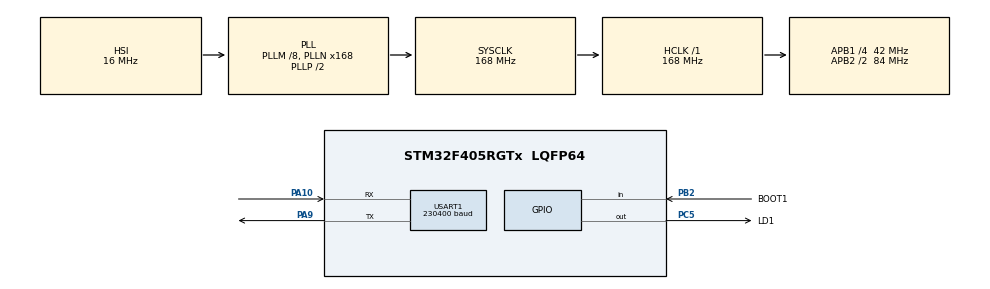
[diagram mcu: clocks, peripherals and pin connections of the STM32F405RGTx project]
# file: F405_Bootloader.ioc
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Dma.Request0=USART1_RX
Dma.Request1=USART1_TX
Dma.USART1_RX.0.Direction=DMA_PERIPH_TO_MEMORY
Dma.USART1_RX.0.FIFOMode=DMA_FIFOMODE_ENABLE
Dma.USART1_RX.0.FIFOThreshold=DMA_FIFO_THRESHOLD_FULL
Dma.USART1_RX.0.Instance=DMA2_Stream2
Dma.USART1_RX.0.MemBurst=DMA_MBURST_SINGLE
Dma.USART1_RX.0.MemDataAlignment=DMA_MDATAALIGN_BYTE
Dma.USART1_RX.0.MemInc=DMA_MINC_ENABLE
Dma.USART1_RX.0.Mode=DMA_NORMAL
Dma.USART1_RX.0.PeriphBurst=DMA_PBURST_SINGLE
Dma.USART1_RX.0.PeriphDataAlignment=DMA_PDATAALIGN_BYTE
Dma.USART1_RX.0.PeriphInc=DMA_PINC_DISABLE
Dma.USART1_RX.0.Priority=DMA_PRIORITY_LOW
Dma.USART1_TX.1.Direction=DMA_MEMORY_TO_PERIPH
Dma.USART1_TX.1.FIFOMode=DMA_FIFOMODE_ENABLE
Dma.USART1_TX.1.FIFOThreshold=DMA_FIFO_THRESHOLD_FULL
Dma.USART1_TX.1.Instance=DMA2_Stream7
Dma.USART1_TX.1.MemBurst=DMA_MBURST_SINGLE
Dma.USART1_TX.1.MemDataAlignment=DMA_MDATAALIGN_BYTE
Dma.USART1_TX.1.MemInc=DMA_MINC_ENABLE
Dma.USART1_TX.1.Mode=DMA_NORMAL
Dma.USART1_TX.1.PeriphBurst=DMA_PBURST_SINGLE
Dma.USART1_TX.1.PeriphDataAlignment=DMA_PDATAALIGN_BYTE
Dma.USART1_TX.1.PeriphInc=DMA_PINC_DISABLE
Dma.USART1_TX.1.Priority=DMA_PRIORITY_LOW
Mcu.Family=STM32F4
Mcu.Name=STM32F405RGTx
Mcu.Package=LQFP64
NVIC.DMA2_Stream2_IRQn=true\:0\:0\:false\:false\:true\:false\:true\:true
NVIC.DMA2_Stream7_IRQn=true\:0\:0\:false\:false\:true\:false\:true\:true
NVIC.PriorityGroup=NVIC_PRIORITYGROUP_4
NVIC.TIM6_DAC_IRQn=true\:0\:0\:false\:false\:true\:true\:true\:true
NVIC.USART1_IRQn=true\:0\:0\:false\:false\:true\:true\:true\:true
PA10.Mode=Asynchronous
PA10.Signal=USART1_RX
PA13.Mode=Trace_Asynchronous_SW
PA13.Signal=SYS_JTMS-SWDIO
PA14.Mode=Trace_Asynchronous_SW
PA14.Signal=SYS_JTCK-SWCLK
PA9.Mode=Asynchronous
PA9.Signal=USART1_TX
PB2.GPIO_Label=BOOT1
PB2.Signal=GPIO_Input
PB3.Mode=Trace_Asynchronous_SW
PB3.Signal=SYS_JTDO-SWO
PC5.GPIO_Label=LD1
PC5.Signal=GPIO_Output
PH0-OSC_IN.Mode=HSE-External-Oscillator
PH0-OSC_IN.Signal=RCC_OSC_IN
PH1-OSC_OUT.Mode=HSE-External-Oscillator
PH1-OSC_OUT.Signal=RCC_OSC_OUT
ProjectManager.HeapSize=0x200
ProjectManager.StackSize=0x400
ProjectManager.TargetToolchain=STM32CubeIDE
RCC.48MHZClocksFreq_Value=84000000
RCC.AHBFreq_Value=168000000
RCC.APB1CLKDivider=RCC_HCLK_DIV4
RCC.APB1Freq_Value=42000000
RCC.APB1TimFreq_Value=84000000
RCC.APB2CLKDivider=RCC_HCLK_DIV2
RCC.APB2Freq_Value=84000000
RCC.APB2TimFreq_Value=168000000
RCC.CortexFreq_Value=168000000
RCC.HCLKFreq_Value=168000000
RCC.HSE_VALUE=25000000
RCC.HSI_VALUE=16000000
RCC.LSE_VALUE=32768
RCC.PLLM=8
RCC.PLLN=168
RCC.SYSCLKFreq_VALUE=168000000
RCC.SYSCLKSource=RCC_SYSCLKSOURCE_PLLCLK
RCC.VCOOutputFreq_Value=336000000
TIM6.Period=999
TIM6.Prescaler=83
USART1.BaudRate=230400
USART1.VirtualMode=VM_ASYNC
VP_CRC_VS_CRC.Mode=CRC_Activate
VP_TIM6_VS_ClockSourceINT.Mode=Enable_Timer
board=custom

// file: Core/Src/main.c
/* USER CODE BEGIN Header */
/**
  ******************************************************************************
  * @file           : main.c
  * @brief          : Main program body
  ******************************************************************************
  * @attention
  *
  * Copyright (c) 2022 STMicroelectronics.
  * All rights reserved.
  *
  * This software is licensed under terms that can be found in the LICENSE file
  * in the root directory of this software component.
  * If no LICENSE file comes with this software, it is provided AS-IS.
  *
  ******************************************************************************
  */
/* USER CODE END Header */
#include "main.h"

/* USER CODE BEGIN Includes */
#include "etx_ota_update.h"
#include "stdio.h"
/* USER CODE END Includes */

/* USER CODE BEGIN PD */
#define MAJOR 0   // BL Major version Number
#define MINOR 1   // BL Minor version Number
/* USER CODE END PD */

 CRC_HandleTypeDef hcrc;

TIM_HandleTypeDef htim6;

UART_HandleTypeDef huart1;
DMA_HandleTypeDef hdma_usart1_rx;
DMA_HandleTypeDef hdma_usart1_tx;

/* USER CODE BEGIN PV */
uint8_t rxBuffer[OTA_PACKET_MAX_SIZE] = { 0 };
uint8_t rxFlag = 0;
uint16_t rxSize = 0;
const uint8_t BL_Version[2] = { MAJOR, MINOR };
/* USER CODE END PV */

void SystemClock_Config(void);
static void MX_GPIO_Init(void);
static void MX_DMA_Init(void);
static void MX_TIM6_Init(void);
static void MX_USART1_UART_Init(void);
static void MX_CRC_Init(void);
/* USER CODE BEGIN PFP */
static void goto_application(void);
/* USER CODE END PFP */

int main(void)
{

  /* MCU Configuration--------------------------------------------------------*/

  /* Reset of all peripherals, Initializes the Flash interface and the Systick. */
  HAL_Init();

  /* Configure the system clock */
  SystemClock_Config();

  /* Initialize all configured peripherals */
  MX_GPIO_Init();
  MX_DMA_Init();
  MX_TIM6_Init();
  MX_USART1_UART_Init();
  MX_CRC_Init();
  /* USER CODE BEGIN 2 */
	HAL_TIM_Base_Start_IT(&htim6);
	HAL_UARTEx_ReceiveToIdle_DMA(&huart1, rxBuffer, OTA_PACKET_MAX_SIZE);
	__HAL_DMA_DISABLE_IT(&hdma_usart1_rx, DMA_IT_HT);

//	printf("Starting Bootloader(%d.%d)\r\n", BL_Version[0], BL_Version[1]);

//	printf("Reading the reboot reason...\r\n");

	ETX_GNRL_CFG_ *cfg = (ETX_GNRL_CFG_*) (CONFIG_FLASH_ADDR);
	bool goto_ota_mode = false;

	switch (cfg->reboot_cause) {

	case NORMAL_BOOT: {
		/*
		 * It is a normal boot. So, do nothing here.
		 */
//		printf("Normal Boot\r\n");
		break;
	}
	case OTA_REQUEST:
	case FIRST_TIME_BOOT: {
		/*
		 * Application has requested for the OTA update or this is the first
		 * time boot. So, don't wait for the user to press the button.
		 * Directly go to OTA mode.
		 */
//		printf("First time boot / OTA Request...\r\n");
//		printf("Going to OTA mode...\r\n");
		goto_ota_mode = true;
		break;
	}
	case LOAD_PREV_APP: {
		//TODO: Implement
		break;
	}
	default:
		/* should not get here */
		break;
	}

	GPIO_PinState OTA_Pin_state;
	uint32_t end_tick = HAL_GetTick() + 1000;   // from now to 3 Seconds

//	printf("Check BOOT1 pin to trigger OTA update...\r\n");
	do {
		OTA_Pin_state = HAL_GPIO_ReadPin( BOOT1_GPIO_Port, BOOT1_Pin);
		uint32_t current_tick = HAL_GetTick();

		/* Check the button is pressed or not for 3seconds */
		if ((OTA_Pin_state != GPIO_PIN_RESET) || (current_tick > end_tick)) {
			/* Either timeout or Button is pressed */
			break;
		}
	} while (!goto_ota_mode);

	if ((OTA_Pin_state == GPIO_PIN_SET) || (goto_ota_mode)) {
		HAL_GPIO_WritePin(LD1_GPIO_Port, LD1_Pin, GPIO_PIN_SET);

//		printf("Starting Firmware Download!!!\r\n");
		/* OTA Request. Receive the data from the UART4 and flash */
		if (etx_ota_download_and_flash() != ETX_OTA_EX_OK) {
			/* Error. Don't process. */
//			printf("OTA Update : ERROR!!! HALT!!!\r\n");
			while (1)
				;
		} else {
			/* Reset to load the new application */
//			printf("Firmware update is done!!! Rebooting...\r\n");
			HAL_Delay (50);
			HAL_NVIC_SystemReset();
		}
	}
//	puts ("Copy firmware to the Application area\r\n");
	load_new_app();
//	puts ("Jump to the Application\r\n");
	goto_application();
  /* USER CODE END 2 */

  /* Infinite loop */
  while (1)
  {

  }
}

void SystemClock_Config(void)
{
  RCC_OscInitTypeDef RCC_OscInitStruct = {0};
  RCC_ClkInitTypeDef RCC_ClkInitStruct = {0};

  /** Configure the main internal regulator output voltage
  */
  __HAL_RCC_PWR_CLK_ENABLE();
  __HAL_PWR_VOLTAGESCALING_CONFIG(PWR_REGULATOR_VOLTAGE_SCALE1);

  /** Initializes the RCC Oscillators according to the specified parameters
  * in the RCC_OscInitTypeDef structure.
  */
  RCC_OscInitStruct.OscillatorType = RCC_OSCILLATORTYPE_HSI;
  RCC_OscInitStruct.HSIState = RCC_HSI_ON;
  RCC_OscInitStruct.HSICalibrationValue = RCC_HSICALIBRATION_DEFAULT;
  RCC_OscInitStruct.PLL.PLLState = RCC_PLL_ON;
  RCC_OscInitStruct.PLL.PLLSource = RCC_PLLSOURCE_HSI;
  RCC_OscInitStruct.PLL.PLLM = 8;
  RCC_OscInitStruct.PLL.PLLN = 168;
  RCC_OscInitStruct.PLL.PLLP = RCC_PLLP_DIV2;
  RCC_OscInitStruct.PLL.PLLQ = 4;
  if (HAL_RCC_OscConfig(&RCC_OscInitStruct) != HAL_OK)
  {
    Error_Handler();
  }

  /** Initializes the CPU, AHB and APB buses clocks
  */
  RCC_ClkInitStruct.ClockType = RCC_CLOCKTYPE_HCLK|RCC_CLOCKTYPE_SYSCLK
                              |RCC_CLOCKTYPE_PCLK1|RCC_CLOCKTYPE_PCLK2;
  RCC_ClkInitStruct.SYSCLKSource = RCC_SYSCLKSOURCE_PLLCLK;
  RCC_ClkInitStruct.AHBCLKDivider = RCC_SYSCLK_DIV1;
  RCC_ClkInitStruct.APB1CLKDivider = RCC_HCLK_DIV4;
  RCC_ClkInitStruct.APB2CLKDivider = RCC_HCLK_DIV2;

  if (HAL_RCC_ClockConfig(&RCC_ClkInitStruct, FLASH_LATENCY_5) != HAL_OK)
  {
    Error_Handler();
  }
}

static void MX_CRC_Init(void)
{

  hcrc.Instance = CRC;
  if (HAL_CRC_Init(&hcrc) != HAL_OK)
  {
    Error_Handler();
  }

}

static void MX_TIM6_Init(void)
{

  TIM_MasterConfigTypeDef sMasterConfig = {0};

  htim6.Instance = TIM6;
  htim6.Init.Prescaler = 83;
  htim6.Init.CounterMode = TIM_COUNTERMODE_UP;
  htim6.Init.Period = 999;
  htim6.Init.AutoReloadPreload = TIM_AUTORELOAD_PRELOAD_DISABLE;
  if (HAL_TIM_Base_Init(&htim6) != HAL_OK)
  {
    Error_Handler();
  }
  sMasterConfig.MasterOutputTrigger = TIM_TRGO_RESET;
  sMasterConfig.MasterSlaveMode = TIM_MASTERSLAVEMODE_DISABLE;
  if (HAL_TIMEx_MasterConfigSynchronization(&htim6, &sMasterConfig) != HAL_OK)
  {
    Error_Handler();
  }

}

static void MX_USART1_UART_Init(void)
{

  huart1.Instance = USART1;
  huart1.Init.BaudRate = 230400;
  huart1.Init.WordLength = UART_WORDLENGTH_8B;
  huart1.Init.StopBits = UART_STOPBITS_1;
  huart1.Init.Parity = UART_PARITY_NONE;
  huart1.Init.Mode = UART_MODE_TX_RX;
  huart1.Init.HwFlowCtl = UART_HWCONTROL_NONE;
  huart1.Init.OverSampling = UART_OVERSAMPLING_16;
  if (HAL_UART_Init(&huart1) != HAL_OK)
  {
    Error_Handler();
  }

}

static void MX_DMA_Init(void)
{

  /* DMA controller clock enable */
  __HAL_RCC_DMA2_CLK_ENABLE();

  /* DMA interrupt init */
  /* DMA2_Stream2_IRQn interrupt configuration */
  HAL_NVIC_SetPriority(DMA2_Stream2_IRQn, 0, 0);
  HAL_NVIC_EnableIRQ(DMA2_Stream2_IRQn);
  /* DMA2_Stream7_IRQn interrupt configuration */
  HAL_NVIC_SetPriority(DMA2_Stream7_IRQn, 0, 0);
  HAL_NVIC_EnableIRQ(DMA2_Stream7_IRQn);

}

static void MX_GPIO_Init(void)
{
  GPIO_InitTypeDef GPIO_InitStruct = {0};

  /* GPIO Ports Clock Enable */
  __HAL_RCC_GPIOH_CLK_ENABLE();
  __HAL_RCC_GPIOC_CLK_ENABLE();
  __HAL_RCC_GPIOB_CLK_ENABLE();
  __HAL_RCC_GPIOA_CLK_ENABLE();

  /*Configure GPIO pin Output Level */
  HAL_GPIO_WritePin(LD1_GPIO_Port, LD1_Pin, GPIO_PIN_RESET);

  /*Configure GPIO pin : LD1_Pin */
  GPIO_InitStruct.Pin = LD1_Pin;
  GPIO_InitStruct.Mode = GPIO_MODE_OUTPUT_PP;
  GPIO_InitStruct.Pull = GPIO_NOPULL;
  GPIO_InitStruct.Speed = GPIO_SPEED_FREQ_LOW;
  HAL_GPIO_Init(LD1_GPIO_Port, &GPIO_InitStruct);

  /*Configure GPIO pin : BOOT1_Pin */
  GPIO_InitStruct.Pin = BOOT1_Pin;
  GPIO_InitStruct.Mode = GPIO_MODE_INPUT;
  GPIO_InitStruct.Pull = GPIO_NOPULL;
  HAL_GPIO_Init(BOOT1_GPIO_Port, &GPIO_InitStruct);

}

/* USER CODE BEGIN 4 */
void HAL_UARTEx_RxEventCallback(UART_HandleTypeDef *huart, uint16_t Size) {

//	asm ("NOP");
	if (huart->Instance == USART1) {
		HAL_UART_DMAStop(&huart1);
		__HAL_UART_CLEAR_IDLEFLAG(&huart1);
		rxSize = etx_receive_chunk(Size);
		rxFlag = 1;
	}
}

int _write(int file, char *ptr, int len) {
	int DataIdx;

	for (DataIdx = 0; DataIdx < len; DataIdx++) {
		ITM_SendChar(*ptr++);
	}
	return len;
}

void HAL_TIM_PeriodElapsedCallback(TIM_HandleTypeDef *htim) {
	static uint16_t i = 0;
	if (htim->Instance == TIM6) {
		if (i++ > 150) {
			i = 0;
			HAL_GPIO_TogglePin(LD1_GPIO_Port, LD1_Pin);
		}
	}
}

static void goto_application(void) {
	printf("Deinit the peripherals\r\n");
	HAL_CRC_DeInit(&hcrc);
	HAL_TIM_Base_DeInit(&htim6);
	HAL_UART_DeInit(&huart1);
	HAL_DMA_DeInit(&hdma_usart1_rx);
	HAL_DMA_DeInit(&hdma_usart1_tx);
	HAL_GPIO_DeInit(LD1_GPIO_Port, LD1_Pin);
	HAL_GPIO_DeInit(BOOT1_GPIO_Port, BOOT1_Pin);
	__HAL_RCC_GPIOC_CLK_DISABLE();
	__HAL_RCC_GPIOH_CLK_DISABLE();
	__HAL_RCC_GPIOB_CLK_DISABLE();
	__HAL_RCC_GPIOD_CLK_DISABLE();
	__HAL_RCC_GPIOA_CLK_DISABLE();
	HAL_RCC_DeInit();
	HAL_DeInit();
	__disable_irq();

	uint32_t appJumpAddress;
	appJumpAddress = (*((volatile uint32_t*) (APP_FLASH_ADDR + 4U)));

	void (*app_reset_handler)(void);
	app_reset_handler = (void(*)(void)) appJumpAddress;

	__set_MSP(*(volatile uint32_t*) APP_FLASH_ADDR);

	app_reset_handler();    //call the app reset handler
}
/* USER CODE END 4 */

void Error_Handler(void)
{
  __disable_irq();
  while (1)
  {
  }
}
